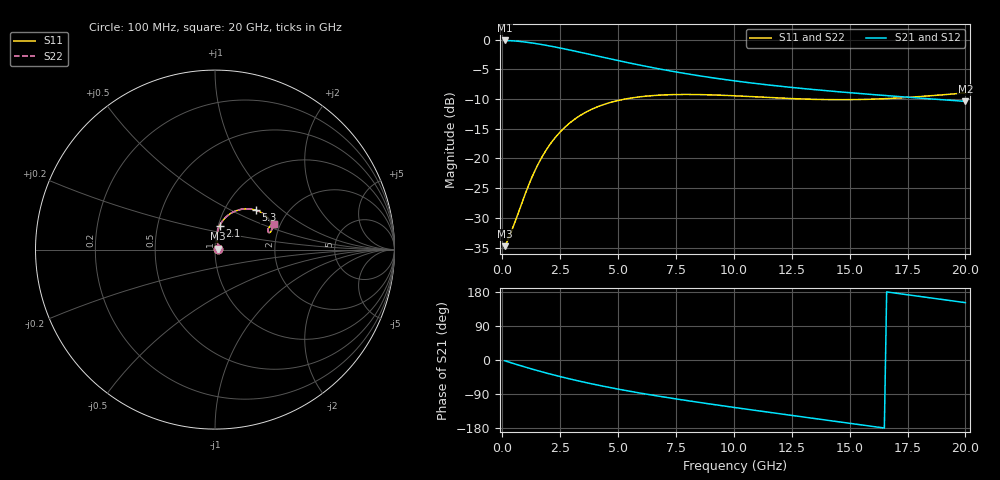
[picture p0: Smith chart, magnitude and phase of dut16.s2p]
! Touchstone file exported from HFSS 2024.1.0
!  File:  C:/UserFiles/LocalFiles/RDL_TSV_Batchsim/temp_RDL_TSV_16_1779398673.aedt
!  Generated:  05:40:07 AM May 22, 2026
!  Design:  RDL_TSV
!  Project:  temp_RDL_TSV_16_1779398673
!  Setup:  Setup1
!  Solution:  Sweep
! Variables:
!  dtsv = 10.75um
!  hbump = 3um
!  htsv = 80.55um
!  ldown = 616.14um
!  lrdl = 257.77um
!  p = 40
!  p1 = 55.18um
!  rhole = 10um
!  subl = 2879.5um
!  t = 450um
!  tdown = 4.89um
!  trdl = 4.2um
!  viad = 10um
!  wdown = 10.21um
!  wrdl = 20.23um
!  xbump = 18um
# GHz S MA R 50.000000
! Terminal data exported
! Port[1] = TM1_1_T1
! Port[2] = TM1_4_T1
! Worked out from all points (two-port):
!   200 points, 100 MHz to 20 GHz, reference 50 ohm
!   highest |S21| = -0.16 dB at 100 MHz (marker M1); lowest = -10.4 dB at 20 GHz (marker M2)
!   |S21| within 3 dB of the highest: start of sweep to 4.548 GHz
!   lowest |S11| = -34.8 dB at 100 MHz (marker M3), VSWR 1.04, Z = 51.8 + j0.472 ohm
!   |S11| at or under -10 dB: start of sweep to 5.322 GHz; 12.95 GHz to 16.23 GHz (3.281 GHz wide, 22.5 % of centre)
!   |S22| runs from -34.8 to -9.0 dB; largest |S21 - S12| = 2.1e-14
!   S11 on the Smith chart (normalised r, x): 100 MHz: 1.04, +0.01; 2.1 GHz: 1.01, +0.27; 5.3 GHz: 1.39, +0.68; 20 GHz: 1.85, +0.59
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0.1  0.01829 14.4  0.9818 -2.0  0.9818 -2.0  0.01829 14.4
! Gamma 0 0 0 0
! Port Impedance 50 0 50 0
0.3  0.02198 37.1  0.9786 -5.8  0.9786 -5.8  0.02198 37.1
0.7  0.0352 65.7  0.966 -13.4  0.966 -13.4  0.0352 65.7
1  0.0509 76.6  0.9518 -18.9  0.9518 -18.9  0.05091 76.7
1.3  0.07082 81.3  0.9344 -24.2  0.9344 -24.2  0.07084 81.3
1.7  0.1016 81.9  0.9078 -31.0  0.9078 -31.0  0.1016 81.9
2.1  0.1345 79.2  0.8786 -37.6  0.8786 -37.6  0.1345 79.3
2.7  0.1827 72.7  0.8326 -46.8  0.8326 -46.8  0.1828 72.8
3.1  0.212 67.9  0.8016 -52.6  0.8016 -52.6  0.2121 67.9
3.5  0.2382 63.0  0.7709 -58.1  0.7709 -58.1  0.2384 63.1
4.3  0.2805 54.0  0.7123 -68.5  0.7123 -68.5  0.2806 54.0
5.3  0.3157 44.2  0.6463 -80.2  0.6463 -80.2  0.3158 44.3
6  0.3307 38.5  0.6057 -87.8  0.6057 -87.8  0.3309 38.6
6.8  0.3407 33.0  0.5649 -95.9  0.5649 -95.9  0.3408 33.1
8.3  0.3447 25.3  0.5026 -110.1  0.5026 -110.1  0.3448 25.3
10.1  0.3358 19.7  0.4473 -125.9  0.4473 -125.9  0.3359 19.8
11.7  0.324 17.6  0.4106 -139.5  0.4106 -139.5  0.3241 17.6
13.4  0.3142 17.7  0.3802 -153.7  0.3802 -153.7  0.3143 17.8
15  0.312 19.3  0.3571 -167.0  0.3571 -167.0  0.3122 19.4
16.7  0.3192 21.4  0.3362 178.8  0.3362 178.8  0.3195 21.6
18.3  0.3342 22.9  0.3187 165.5  0.3187 165.5  0.3346 23.0
20  0.3554 23.2  0.3018 151.4  0.3018 151.4  0.3559 23.3
